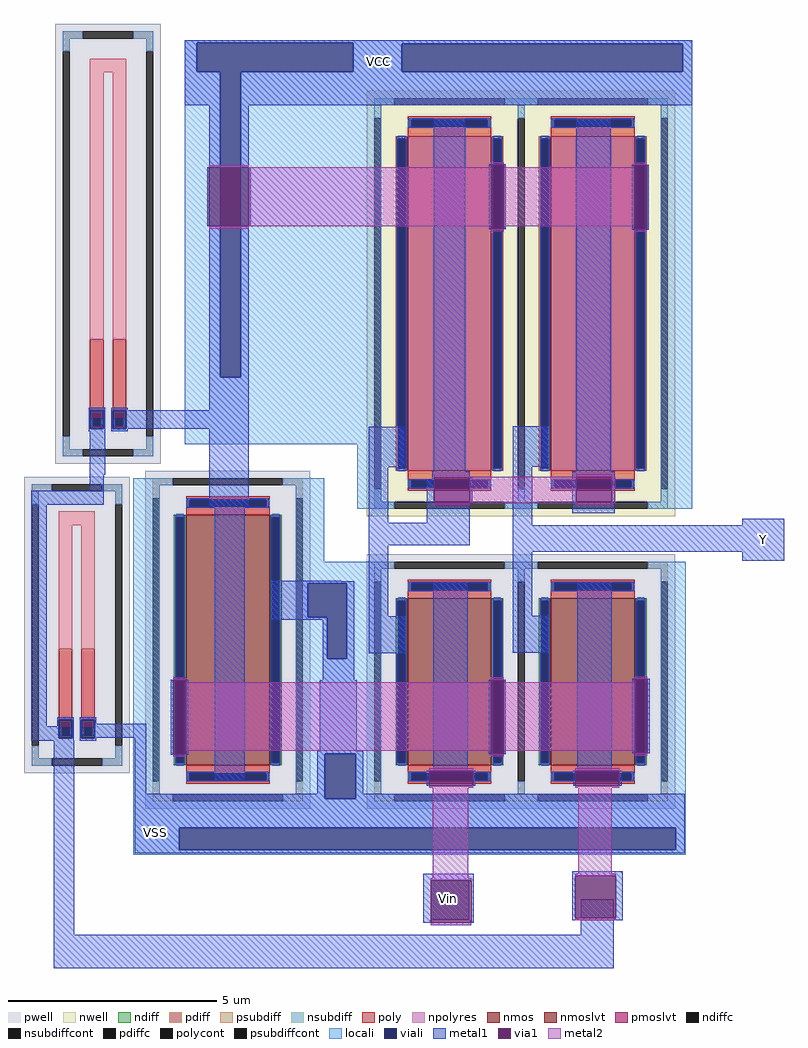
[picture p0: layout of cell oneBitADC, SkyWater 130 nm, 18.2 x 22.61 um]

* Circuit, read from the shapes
.subckt oneBitADC VCC VSS Vin Y
XM1 VSS VCC n1 VSS sky130_fd_pr__nfet_01v8_lvt w=6 l=2
XM2 n1 Vin n2 VSS sky130_fd_pr__nfet_01v8 w=4 l=2
XM3 n1 x1/Vminus Y VSS sky130_fd_pr__nfet_01v8 w=4 l=2
XM4 VCC n2 n2 VCC sky130_fd_pr__pfet_01v8_lvt w=8 l=2
XM5 VCC n2 Y VCC sky130_fd_pr__pfet_01v8_lvt w=8 l=2
R6 x1/Vminus VSS sky130_fd_pr__res_generic_po w=0.33 l=6.79
R7 x1/Vminus VCC sky130_fd_pr__res_generic_po w=0.33 l=13.65
.ends

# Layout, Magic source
magic
tech sky130B
magscale 1 2
<< viali >>
rect 972 2870 1038 2960
rect 1080 2870 1146 2960
rect 822 1388 888 1478
rect 930 1388 996 1478
<< metal1 >>
rect 2252 4530 2452 4730
rect 966 2960 1044 2972
rect 966 2870 972 2960
rect 1038 2870 1044 2960
rect 966 2858 1044 2870
rect 1074 2960 1152 2972
rect 1074 2870 1080 2960
rect 1146 2870 1628 2960
rect 1074 2858 1152 2870
rect 972 2650 1044 2858
rect 972 2574 1038 2650
rect 690 2506 1038 2574
rect 690 1446 764 2506
rect 4096 2240 4296 2440
rect 816 1478 894 1490
rect 816 1446 822 1478
rect 690 1388 822 1446
rect 888 1388 894 1478
rect 690 1378 894 1388
rect 924 1478 1002 1490
rect 924 1388 930 1478
rect 996 1458 1002 1478
rect 996 1390 1242 1458
rect 996 1388 1002 1390
rect 690 1376 896 1378
rect 924 1376 1002 1388
rect 798 448 896 1376
rect 1186 1060 1242 1390
rect 1186 838 1386 1038
rect 2588 520 2788 720
rect 3322 448 3480 618
rect 798 288 3480 448
use sky130_fd_pr__res_generic_po_LSFYMF  sky130_fd_pr__res_generic_po_LSFYMF_0 ~/Project/magic
transform 1 0 909 0 1 1932
box -253 -710 253 710
use sky130_fd_pr__res_generic_po_R2PSDC  sky130_fd_pr__res_generic_po_R2PSDC_0 ~/Project/magic
transform 1 0 1059 0 1 3757
box -253 -1053 253 1053
use OpAmp5T  x1
transform 1 0 958 0 1 2662
box 222 -2168 3338 2070
<< labels >>
flabel metal1 2252 4530 2452 4730 0 FreeSans 256 0 0 0 VCC
port 0 nsew
flabel metal1 4096 2240 4296 2440 0 FreeSans 256 0 0 0 Y
port 3 nsew
flabel metal1 2588 520 2788 720 0 FreeSans 256 0 0 0 Vin
port 2 nsew
flabel metal1 1186 838 1386 1038 0 FreeSans 256 0 0 0 VSS
port 1 nsew
<< end >>

# cell sky130_fd_pr__res_generic_po_LSFYMF: kit device sky130_fd_pr__res_generic_po, w 0.33 l 2.77 m 1 nx 2 wmin 0.330 lmin 1.650 rho 48.2 val 915.8 dummy 0 dw 0.0 term 0.0 sterm 0.0 caplen 0.4 snake 1 guard 1 glc 1 grc 1 gtc 1 gbc 1 roverlap 0 endcov 100 full_metal 1 hv_guard 0 n_guard 0 vias 1 viagb 0 viagt 0 viagl 0 viagr 0

# cell sky130_fd_pr__res_generic_po_R2PSDC: kit device sky130_fd_pr__res_generic_po, w .33 l 6.2 m 1 nx 2 wmin 0.330 lmin 1.650 rho 48.2 val 1.917k dummy 0 dw 0.0 term 0.0 sterm 0.0 caplen 0.4 snake 1 guard 1 glc 1 grc 1 gtc 1 gbc 1 roverlap 0 endcov 100 full_metal 1 hv_guard 0 n_guard 0 vias 1 viagb 0 viagt 0 viagl 0 viagr 0

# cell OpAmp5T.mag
magic
tech sky130B
magscale 1 2
<< locali >>
rect 468 2058 2898 2070
rect 468 1918 526 2058
rect 1274 2054 2898 2058
rect 1274 1918 1508 2054
rect 2854 1918 2898 2054
rect 468 456 638 1918
rect 736 1758 2898 1918
rect 736 456 1410 1758
rect 468 136 1410 456
rect 222 -1540 348 -28
rect 1000 -428 1136 -28
rect 1294 -174 1410 136
rect 2748 -174 2898 1758
rect 1000 -530 1410 -428
rect 1000 -694 1058 -530
rect 1000 -892 1150 -694
rect 1244 -892 1410 -530
rect 1000 -1348 1410 -892
rect 1000 -1540 1138 -1348
rect 222 -1564 1138 -1540
rect 1288 -1540 1410 -1348
rect 2748 -1540 2868 -428
rect 1288 -1564 2868 -1540
rect 222 -1702 2868 -1564
rect 222 -1808 442 -1702
rect 2820 -1808 2868 -1702
rect 222 -1832 2868 -1808
<< viali >>
rect 526 1918 1274 2058
rect 1508 1918 2854 2054
rect 638 456 736 1918
rect 1058 -694 1244 -530
rect 1150 -892 1244 -694
rect 1138 -1564 1288 -1348
rect 442 -1808 2820 -1702
<< metal1 >>
rect 468 2058 2898 2070
rect 468 1918 526 2058
rect 1274 2054 2898 2058
rect 1274 1918 1508 2054
rect 2854 1918 2898 2054
rect 468 1758 638 1918
rect 586 1462 638 1758
rect 736 1758 2898 1918
rect 736 1462 774 1758
rect 576 1178 586 1462
rect 774 1178 784 1462
rect 586 456 638 1178
rect 736 456 774 1178
rect 586 -164 774 456
rect 1348 24 1520 218
rect 402 -1352 412 -994
rect 474 -1352 484 -994
rect 612 -1474 756 -164
rect 1348 -242 1442 24
rect 1660 2 1812 1690
rect 1926 1164 1936 1476
rect 1996 1164 2006 1476
rect 2038 26 2210 220
rect 1654 -22 1834 2
rect 1654 -38 1664 -22
rect 1628 -148 1664 -38
rect 1834 -148 1844 -22
rect 1628 -242 1834 -148
rect 1348 -348 1834 -242
rect 2038 -254 2132 26
rect 2342 2 2508 1690
rect 2610 1162 2620 1474
rect 2680 1162 2690 1474
rect 2324 -20 2528 2
rect 2324 -146 2344 -20
rect 2514 -146 2528 -20
rect 2324 -196 2528 -146
rect 3138 -254 3338 -222
rect 886 -522 1216 -520
rect 886 -530 1280 -522
rect 886 -694 1058 -530
rect 886 -706 1150 -694
rect 1130 -892 1150 -706
rect 1244 -892 1280 -530
rect 1348 -688 1442 -348
rect 2038 -380 3338 -254
rect 1348 -866 1524 -688
rect 1130 -996 1280 -892
rect 1114 -1332 1292 -996
rect 1102 -1348 1322 -1332
rect 1102 -1540 1138 -1348
rect 228 -1564 1138 -1540
rect 1288 -1540 1322 -1348
rect 1658 -1428 1824 -530
rect 2038 -686 2132 -380
rect 3138 -422 3338 -380
rect 2038 -864 2214 -686
rect 1924 -1350 1934 -992
rect 1996 -1350 2006 -992
rect 2348 -1428 2514 -530
rect 2612 -1346 2622 -988
rect 2684 -1346 2694 -988
rect 1628 -1500 1638 -1428
rect 1850 -1500 1860 -1428
rect 2328 -1500 2338 -1428
rect 2550 -1500 2560 -1428
rect 1288 -1564 2862 -1540
rect 228 -1702 2862 -1564
rect 228 -1808 442 -1702
rect 2820 -1808 2862 -1702
rect 228 -1824 2862 -1808
rect 1610 -1954 1852 -1922
rect 1610 -2158 1646 -1954
rect 1840 -2158 1852 -1954
rect 2324 -1932 2566 -1910
rect 2324 -2136 2338 -1932
rect 2532 -2136 2566 -1932
rect 2324 -2146 2566 -2136
<< via1 >>
rect 586 1178 638 1462
rect 638 1178 736 1462
rect 736 1178 774 1462
rect 412 -1352 474 -994
rect 1936 1164 1996 1476
rect 1664 -148 1834 -22
rect 2620 1162 2680 1474
rect 2344 -146 2514 -20
rect 1934 -1350 1996 -992
rect 2622 -1346 2684 -988
rect 1638 -1500 1850 -1428
rect 2338 -1500 2550 -1428
rect 1646 -2158 1840 -1954
rect 2338 -2136 2532 -1932
<< metal2 >>
rect 1936 1476 1996 1486
rect 586 1462 774 1472
rect 774 1178 1936 1462
rect 586 1168 774 1178
rect 2620 1474 2680 1484
rect 1996 1178 2620 1462
rect 1936 1154 1996 1164
rect 2620 1152 2680 1162
rect 1664 -20 1834 -12
rect 2344 -20 2514 -10
rect 1664 -22 2344 -20
rect 1834 -146 2344 -22
rect 2514 -146 2530 -20
rect 1834 -148 2530 -146
rect 1664 -158 1834 -148
rect 2344 -156 2514 -148
rect 412 -994 474 -984
rect 1934 -992 1996 -982
rect 474 -1332 1934 -1004
rect 412 -1362 474 -1352
rect 2622 -988 2684 -978
rect 1996 -1332 2622 -1004
rect 1934 -1360 1996 -1350
rect 2622 -1356 2684 -1346
rect 1638 -1428 1850 -1418
rect 1638 -1510 1850 -1500
rect 2338 -1428 2550 -1418
rect 2338 -1510 2550 -1500
rect 1656 -1944 1826 -1510
rect 2352 -1922 2512 -1510
rect 2338 -1932 2532 -1922
rect 1646 -1954 1840 -1944
rect 2338 -2146 2532 -2136
rect 1646 -2168 1840 -2158
use sky130_fd_pr__pfet_01v8_lvt_GWPMZG  XM5 ~/Project/magic
transform 1 0 1736 0 1 809
box -396 -1019 396 1019
use sky130_fd_pr__pfet_01v8_lvt_GWPMZG  XM6
transform 1 0 2422 0 1 809
box -396 -1019 396 1019
use sky130_fd_pr__nfet_01v8_AHRV9L  XM16 ~/Project/magic
transform 1 0 2422 0 1 -1002
box -396 -610 396 610
use sky130_fd_pr__nfet_01v8_lvt_XVWV9B  XM17 ~/Project/magic
transform 1 0 674 0 1 -802
box -396 -810 396 810
use sky130_fd_pr__nfet_01v8_AHRV9L  XM23
transform 1 0 1736 0 1 -1002
box -396 -610 396 610
<< labels >>
flabel metal1 3138 -422 3338 -222 0 FreeSans 256 0 0 0 Vout
port 5 nsew
flabel metal1 228 -1824 428 -1624 0 FreeSans 256 0 0 0 VSS
port 2 nsew
flabel metal1 2334 -2122 2534 -1922 0 FreeSans 256 0 0 0 Vminus
port 4 nsew
flabel metal1 1630 -2142 1830 -1942 0 FreeSans 256 0 0 0 Vplus
port 3 nsew
flabel metal1 1294 1868 1494 2068 0 FreeSans 256 0 0 0 VCC
port 1 nsew
<< end >>

# cell sky130_fd_pr__pfet_01v8_lvt_GWPMZG: kit device sky130_fd_pr__pfet_01v8_lvt, w 8.0 l 2.0 m 1 nf 1 diffcov 100 polycov 100 guard 1 glc 1 grc 1 gtc 1 gbc 1 tbcov 100 rlcov 100 topc 1 botc 1 poverlap 0 doverlap 1 lmin 0.35 wmin 0.42 compatible {sky130_fd_pr__pfet_01v8 sky130_fd_pr__pfet_01v8_lvt sky130_fd_pr__pfet_01v8_hvt sky130_fd_pr__pfet_g5v0d10v5} full_metal 1 viasrc 100 viadrn 100 viagate 100 viagb 0 viagr 0 viagl 0 viagt 0

# cell sky130_fd_pr__nfet_01v8_AHRV9L: kit device sky130_fd_pr__nfet_01v8, w 4.0 l 2.0 m 1 nf 1 diffcov 100 polycov 100 guard 1 glc 1 grc 1 gtc 1 gbc 1 tbcov 100 rlcov 100 topc 1 botc 1 poverlap 0 doverlap 1 lmin 0.15 wmin 0.42 compatible {sky130_fd_pr__nfet_01v8 sky130_fd_pr__nfet_01v8_lvt sky130_fd_bs_flash__special_sonosfet_star sky130_fd_pr__nfet_g5v0d10v5 sky130_fd_pr__nfet_05v0_nvt sky130_fd_pr__nfet_03v3_nvt} full_metal 1 viasrc 100 viadrn 100 viagate 100 viagb 0 viagr 0 viagl 0 viagt 0

# cell sky130_fd_pr__nfet_01v8_lvt_XVWV9B: kit device sky130_fd_pr__nfet_01v8_lvt, w 6.0 l 2.0 m 1 nf 1 diffcov 100 polycov 100 guard 1 glc 1 grc 1 gtc 1 gbc 1 tbcov 100 rlcov 100 topc 1 botc 1 poverlap 0 doverlap 1 lmin 0.15 wmin 0.42 compatible {sky130_fd_pr__nfet_01v8 sky130_fd_pr__nfet_01v8_lvt sky130_fd_bs_flash__special_sonosfet_star sky130_fd_pr__nfet_g5v0d10v5 sky130_fd_pr__nfet_05v0_nvt sky130_fd_pr__nfet_03v3_nvt} full_metal 1 viasrc 100 viadrn 100 viagate 100 viagb 0 viagr 0 viagl 0 viagt 0
